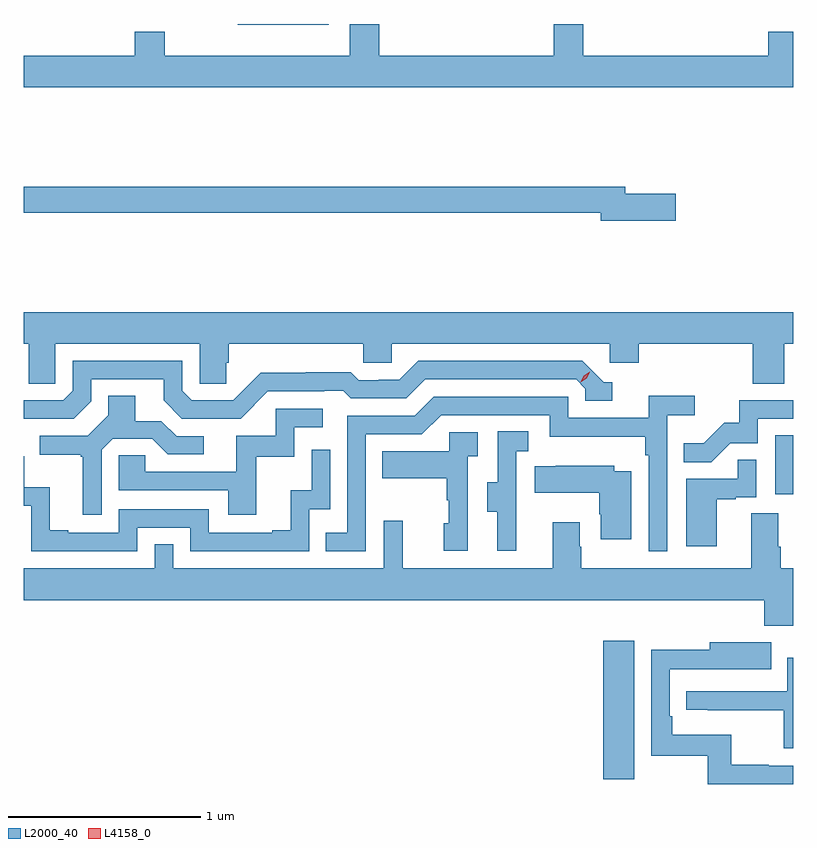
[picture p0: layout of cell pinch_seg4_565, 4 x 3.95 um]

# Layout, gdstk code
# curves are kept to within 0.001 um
import gdstk
lib = gdstk.Library(unit=1e-6, precision=1e-09)
def R(c, l, rs):  # rectangles x0, y0, x1, y1
    for r in rs: c.add(gdstk.rectangle(r[:2], r[2:], *l))
def P(c, l, *ps):  # polygons
    for p in ps: c.add(gdstk.Polygon(p, *l))
L2000_40 = (2000, 40)
L4158_0 = (4158, 0)

pinch_seg4_565 = lib.new_cell('pinch_seg4_565')
R(pinch_seg4_565, L2000_40, [(1105.97,770.58,1106.131,771.301), (1106.864,772.062,1106.959,772.369), (1104.071,774.5,1104.544,774.505)])
P(pinch_seg4_565, L2000_40, [(1106.959,774.464),(1106.827,774.464),(1106.827,774.34),(1105.867,774.34),(1105.867,774.505),(1105.715,774.505),(1105.715,774.34),(1104.806,774.34),(1104.806,774.505),(1104.653,774.505),(1104.653,774.34),(1103.693,774.34),(1103.693,774.464),(1103.537,774.464),(1103.537,774.34),(1102.959,774.34),(1102.959,774.176),(1106.959,774.176)],
  [(1106.347,773.624),(1106.086,773.624),(1106.086,773.66),(1102.959,773.66),(1102.959,773.524),(1105.958,773.524),(1105.958,773.482),(1106.347,773.482)],
  [(1103.124,772.844),(1103.874,772.844),(1103.874,772.636),(1104.011,772.636),(1104.011,772.746),(1104.026,772.746),(1104.026,772.844),(1104.723,772.844),(1104.723,772.746),(1104.873,772.746),(1104.873,772.844),(1106.004,772.844),(1106.004,772.746),(1106.156,772.746),(1106.156,772.844),(1106.747,772.844),(1106.747,772.636),(1106.912,772.636),(1106.912,772.844),(1106.959,772.844),(1106.959,773.008),(1102.959,773.008),(1102.959,772.844),(1102.985,772.844),(1102.985,772.636),(1103.124,772.636)],
  [(1103.004,772.455),(1103.22,772.455),(1103.31,772.545),(1103.31,772.659),(1103.687,772.659),(1103.687,772.549),(1103.781,772.455),(1104.087,772.455),(1104.228,772.596),(1104.521,772.596),(1104.521,772.599),(1104.62,772.599),(1104.659,772.56),(1104.948,772.56),(1105.047,772.659),(1105.83,772.659),(1105.878,772.611),(1105.878,772.548),(1106.017,772.548),(1106.017,772.644),(1105.974,772.644),(1105.863,772.755),(1105.01,772.755),(1104.911,772.656),(1104.804,772.656),(1104.804,772.653),(1104.701,772.653),(1104.659,772.696),(1104.426,772.696),(1104.426,772.693),(1104.19,772.693),(1104.048,772.551),(1103.832,772.551),(1103.784,772.599),(1103.784,772.755),(1103.214,772.755),(1103.214,772.599),(1103.166,772.551),(1102.959,772.551),(1102.959,772.454)],
  [(1103.364,772.293),(1103.421,772.35),(1103.627,772.35),(1103.708,772.269),(1103.896,772.269),(1103.896,772.362),(1103.754,772.362),(1103.674,772.442),(1103.539,772.442),(1103.539,772.574),(1103.399,772.574),(1103.399,772.472),(1103.292,772.365),(1103.043,772.365),(1103.043,772.268),(1103.256,772.268),(1103.256,772.257),(1103.267,772.257),(1103.267,771.954),(1103.364,771.954)],
  [(1104.738,772.374),(1105.029,772.374),(1105.128,772.473),(1105.692,772.473),(1105.692,772.361),(1106.188,772.361),(1106.188,772.265),(1106.208,772.265),(1106.208,771.765),(1106.304,771.765),(1106.304,772.472),(1106.446,772.472),(1106.446,772.574),(1106.207,772.574),(1106.207,772.458),(1105.788,772.458),(1105.788,772.569),(1105.091,772.569),(1104.992,772.47),(1104.642,772.47),(1104.642,771.861),(1104.529,771.861),(1104.529,771.765),(1104.738,771.765)],
  [(1106.631,772.326),(1106.775,772.326),(1106.775,772.455),(1106.959,772.455),(1106.959,772.551),(1106.677,772.551),(1106.677,772.434),(1106.6,772.434),(1106.493,772.327),(1106.389,772.327),(1106.389,772.228),(1106.533,772.228)],
  [(1104.167,772.257),(1104.366,772.257),(1104.366,772.41),(1104.514,772.41),(1104.514,772.506),(1104.27,772.506),(1104.27,772.365),(1104.065,772.365),(1104.065,772.179),(1103.591,772.179),(1103.591,772.263),(1103.454,772.263),(1103.454,772.083),(1104.023,772.083),(1104.023,771.954),(1104.167,771.954)],
  [(1105.52,771.981),(1105.518,771.981),(1105.518,772.285),(1105.582,772.285),(1105.582,772.388),(1105.422,772.388),(1105.422,772.125),(1105.367,772.125),(1105.367,771.97),(1105.421,771.97),(1105.421,771.768),(1105.52,771.768)],
  [(1105.266,772.259),(1105.318,772.259),(1105.318,772.383),(1105.17,772.383),(1105.17,772.285),(1104.823,772.285),(1104.823,772.145),(1105.158,772.145),(1105.158,772.031),(1105.168,772.031),(1105.168,771.912),(1105.142,771.912),(1105.142,771.768),(1105.266,771.768)],
  [(1103.55,771.888),(1103.826,771.888),(1103.826,771.765),(1104.444,771.765),(1104.444,771.984),(1104.552,771.984),(1104.552,772.294),(1104.456,772.294),(1104.456,772.082),(1104.347,772.082),(1104.347,771.874),(1104.251,771.874),(1104.251,771.861),(1103.922,771.861),(1103.922,771.984),(1103.454,771.984),(1103.454,771.861),(1103.191,771.861),(1103.191,771.874),(1103.095,771.874),(1103.095,772.099),(1102.962,772.099),(1102.962,772.26),(1102.959,772.26),(1102.959,772.001),(1102.998,772.001),(1102.998,771.765),(1103.55,771.765)],
  [(1106.56,772.035),(1106.66,772.035),(1106.66,772.047),(1106.766,772.047),(1106.766,772.241),(1106.671,772.241),(1106.671,772.143),(1106.402,772.143),(1106.402,771.792),(1106.56,771.792)],
  [(1106.116,772.18),(1106.029,772.18),(1106.029,772.21),(1105.723,772.21),(1105.723,772.207),(1105.615,772.207),(1105.615,772.07),(1105.951,772.07),(1105.951,771.957),(1105.958,771.957),(1105.958,771.828),(1106.116,771.828)],
  [(1106.959,771.676),(1106.894,771.676),(1106.894,771.788),(1106.881,771.788),(1106.881,771.962),(1106.741,771.962),(1106.741,771.676),(1105.857,771.676),(1105.857,771.788),(1105.849,771.788),(1105.849,771.916),(1105.709,771.916),(1105.709,771.676),(1104.929,771.676),(1104.929,771.925),(1104.831,771.925),(1104.831,771.676),(1103.736,771.676),(1103.736,771.803),(1103.64,771.803),(1103.64,771.676),(1102.959,771.676),(1102.959,771.512),(1106.807,771.512),(1106.807,771.377),(1106.959,771.377)],
  [(1106.959,770.652),(1106.831,770.652),(1106.831,770.657),(1106.635,770.657),(1106.635,770.812),(1106.33,770.812),(1106.33,770.908),(1106.316,770.908),(1106.316,771.153),(1106.629,771.153),(1106.629,771.152),(1106.843,771.152),(1106.843,771.292),(1106.525,771.292),(1106.525,771.254),(1106.22,771.254),(1106.22,770.703),(1106.514,770.703),(1106.514,770.556),(1106.959,770.556)],
  [(1106.959,771.211),(1106.928,771.211),(1106.928,771.039),(1106.403,771.039),(1106.403,770.943),(1106.515,770.943),(1106.515,770.938),(1106.908,770.938),(1106.908,770.742),(1106.959,770.742)])
P(pinch_seg4_565, L4158_0, [(1105.855,772.644),(1105.855,772.644),(1105.87,772.677),(1105.901,772.697),(1105.901,772.697),(1105.901,772.697),(1105.886,772.664),(1105.855,772.644)])

lib.write_gds('pinch_seg4_565.gds')
